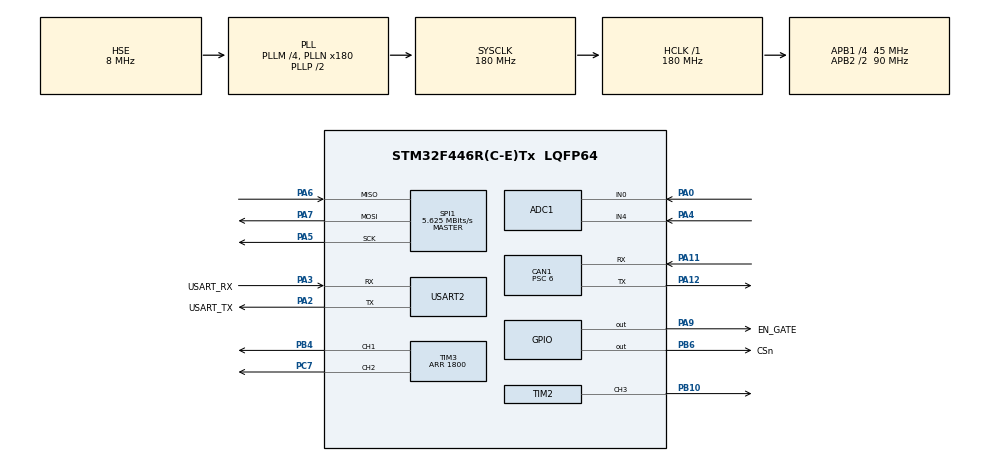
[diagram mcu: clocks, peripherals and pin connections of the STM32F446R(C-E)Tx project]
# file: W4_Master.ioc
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ADC1.Channel-0\#ChannelRegularConversion=ADC_CHANNEL_0
ADC1.Channel-1\#ChannelRegularConversion=ADC_CHANNEL_4
ADC1.DMAContinuousRequests=ENABLE
ADC1.ExternalTrigConv=ADC_EXTERNALTRIGCONV_T3_TRGO
ADC1.NbrOfConversion=2
ADC1.NbrOfConversionFlag=1
ADC1.Rank-0\#ChannelRegularConversion=1
ADC1.Rank-1\#ChannelRegularConversion=2
ADC1.SamplingTime-0\#ChannelRegularConversion=ADC_SAMPLETIME_84CYCLES
ADC1.SamplingTime-1\#ChannelRegularConversion=ADC_SAMPLETIME_84CYCLES
ADC1.ScanConvMode=ENABLE
ADC1.master=1
CAN1.BS1=CAN_BS1_12TQ
CAN1.BS2=CAN_BS2_2TQ
CAN1.CalculateBaudRate=500000
CAN1.CalculateTimeBit=2000
CAN1.CalculateTimeQuantum=133.33333333333331
CAN1.Prescaler=6
Dma.ADC1.0.Direction=DMA_PERIPH_TO_MEMORY
Dma.ADC1.0.FIFOMode=DMA_FIFOMODE_DISABLE
Dma.ADC1.0.Instance=DMA2_Stream0
Dma.ADC1.0.MemDataAlignment=DMA_MDATAALIGN_HALFWORD
Dma.ADC1.0.MemInc=DMA_MINC_ENABLE
Dma.ADC1.0.Mode=DMA_CIRCULAR
Dma.ADC1.0.PeriphDataAlignment=DMA_PDATAALIGN_HALFWORD
Dma.ADC1.0.PeriphInc=DMA_PINC_DISABLE
Dma.ADC1.0.Priority=DMA_PRIORITY_LOW
Dma.Request0=ADC1
Dma.Request1=SPI1_RX
Dma.Request2=SPI1_TX
Dma.SPI1_RX.1.Direction=DMA_PERIPH_TO_MEMORY
Dma.SPI1_RX.1.FIFOMode=DMA_FIFOMODE_DISABLE
Dma.SPI1_RX.1.Instance=DMA2_Stream2
Dma.SPI1_RX.1.MemDataAlignment=DMA_MDATAALIGN_BYTE
Dma.SPI1_RX.1.MemInc=DMA_MINC_ENABLE
Dma.SPI1_RX.1.Mode=DMA_NORMAL
Dma.SPI1_RX.1.PeriphDataAlignment=DMA_PDATAALIGN_BYTE
Dma.SPI1_RX.1.PeriphInc=DMA_PINC_DISABLE
Dma.SPI1_RX.1.Priority=DMA_PRIORITY_LOW
Dma.SPI1_TX.2.Direction=DMA_MEMORY_TO_PERIPH
Dma.SPI1_TX.2.FIFOMode=DMA_FIFOMODE_DISABLE
Dma.SPI1_TX.2.Instance=DMA2_Stream3
Dma.SPI1_TX.2.MemDataAlignment=DMA_MDATAALIGN_BYTE
Dma.SPI1_TX.2.MemInc=DMA_MINC_ENABLE
Dma.SPI1_TX.2.Mode=DMA_NORMAL
Dma.SPI1_TX.2.PeriphDataAlignment=DMA_PDATAALIGN_BYTE
Dma.SPI1_TX.2.PeriphInc=DMA_PINC_DISABLE
Dma.SPI1_TX.2.Priority=DMA_PRIORITY_LOW
Mcu.Family=STM32F4
Mcu.Name=STM32F446R(C-E)Tx
Mcu.Package=LQFP64
NVIC.DMA2_Stream0_IRQn=true\:0\:0\:false\:false\:true\:false\:true\:true
NVIC.DMA2_Stream2_IRQn=true\:0\:2\:false\:false\:true\:false\:true\:true
NVIC.DMA2_Stream3_IRQn=true\:0\:2\:false\:false\:true\:false\:true\:true
NVIC.PriorityGroup=NVIC_PRIORITYGROUP_0
PA0-WKUP.Signal=ADCx_IN0
PA11.Mode=CAN_Activate
PA11.Signal=CAN1_RX
PA12.Mode=CAN_Activate
PA12.Signal=CAN1_TX
PA2.GPIO_Label=USART_TX
PA2.Mode=Asynchronous
PA2.Signal=USART2_TX
PA3.GPIO_Label=USART_RX
PA3.Mode=Asynchronous
PA3.Signal=USART2_RX
PA4.Signal=ADCx_IN4
PA5.Mode=Full_Duplex_Master
PA5.Signal=SPI1_SCK
PA6.Mode=Full_Duplex_Master
PA6.Signal=SPI1_MISO
PA7.Mode=Full_Duplex_Master
PA7.Signal=SPI1_MOSI
PA9.GPIO_Label=EN_GATE
PA9.PinState=GPIO_PIN_SET
PA9.Signal=GPIO_Output
PB10.Signal=S_TIM2_CH3
PB4.Signal=S_TIM3_CH1
PB6.GPIO_Label=CSn
PB6.GPIO_PuPd=GPIO_PULLUP
PB6.GPIO_Speed=GPIO_SPEED_FREQ_HIGH
PB6.PinState=GPIO_PIN_SET
PB6.Signal=GPIO_Output
PC7.Signal=S_TIM3_CH2
PH0-OSC_IN.Mode=HSE-External-Oscillator
PH0-OSC_IN.Signal=RCC_OSC_IN
PH1-OSC_OUT.Mode=HSE-External-Oscillator
PH1-OSC_OUT.Signal=RCC_OSC_OUT
ProjectManager.HeapSize=0x200
ProjectManager.StackSize=0x400
ProjectManager.TargetToolchain=STM32CubeIDE
RCC.48MHZClocksFreq_Value=84000000
RCC.AHBFreq_Value=180000000
RCC.APB1CLKDivider=RCC_HCLK_DIV4
RCC.APB1Freq_Value=45000000
RCC.APB1TimFreq_Value=90000000
RCC.APB2CLKDivider=RCC_HCLK_DIV2
RCC.APB2Freq_Value=90000000
RCC.APB2TimFreq_Value=180000000
RCC.CortexFreq_Value=180000000
RCC.FLatency-AdvancedSettings=FLASH_LATENCY_5
RCC.HCLKFreq_Value=180000000
RCC.HSE_VALUE=8000000
RCC.HSI_VALUE=16000000
RCC.PLLM=4
RCC.PLLN=180
RCC.PLLSourceVirtual=RCC_PLLSOURCE_HSE
RCC.SYSCLKFreq_VALUE=180000000
RCC.SYSCLKSource=RCC_SYSCLKSOURCE_PLLCLK
RCC.USBFreq_Value=180000000
RCC.VCOOutputFreq_Value=360000000
SH.ADCx_IN0.0=ADC1_IN0,IN0
SH.ADCx_IN4.0=ADC1_IN4,IN4
SH.S_TIM2_CH3.0=TIM2_CH3,PWM Generation3 CH3
SH.S_TIM3_CH1.0=TIM3_CH1,PWM Generation1 CH1
SH.S_TIM3_CH2.0=TIM3_CH2,PWM Generation2 CH2
SPI1.BaudRatePrescaler=SPI_BAUDRATEPRESCALER_16
SPI1.CLKPhase=SPI_PHASE_2EDGE
SPI1.CalculateBaudRate=5.625 MBits/s
SPI1.Direction=SPI_DIRECTION_2LINES
SPI1.Mode=SPI_MODE_MASTER
SPI1.VirtualType=VM_MASTER
TIM2.AutoReloadPreload=TIM_AUTORELOAD_PRELOAD_ENABLE
TIM2.Channel-PWM\ Generation3\ CH3=TIM_CHANNEL_3
TIM2.CounterMode=TIM_COUNTERMODE_CENTERALIGNED3
TIM2.Period=1800
TIM3.AutoReloadPreload=TIM_AUTORELOAD_PRELOAD_ENABLE
TIM3.Channel-PWM\ Generation1\ CH1=TIM_CHANNEL_1
TIM3.Channel-PWM\ Generation2\ CH2=TIM_CHANNEL_2
TIM3.CounterMode=TIM_COUNTERMODE_CENTERALIGNED3
TIM3.Period=1800
TIM3.TIM_MasterOutputTrigger=TIM_TRGO_UPDATE
USART2.VirtualMode=VM_ASYNC
board=NUCLEO-F446RE

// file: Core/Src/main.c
/* USER CODE BEGIN Header */
/**
  ******************************************************************************
  * @file           : main.c
  * @brief          : Main program body
  ******************************************************************************
  * @attention
  *
  * Copyright (c) 2026 STMicroelectronics.
  * All rights reserved.
  *
  * This software is licensed under terms that can be found in the LICENSE file
  * in the root directory of this software component.
  * If no LICENSE file comes with this software, it is provided AS-IS.
  *
  ******************************************************************************
  */
/* USER CODE END Header */
#include "main.h"

ADC_HandleTypeDef hadc1;
DMA_HandleTypeDef hdma_adc1;

CAN_HandleTypeDef hcan1;

SPI_HandleTypeDef hspi1;
DMA_HandleTypeDef hdma_spi1_rx;
DMA_HandleTypeDef hdma_spi1_tx;

TIM_HandleTypeDef htim2;
TIM_HandleTypeDef htim3;

UART_HandleTypeDef huart2;

/* USER CODE BEGIN PV */
// float ↔ 4字节 互转(和从板对称)
typedef union {
    float    f;
    uint8_t  b[4];
} float_bytes_t;

CAN_TxHeaderTypeDef TxHeader;   // 发送帧头
uint8_t  TxData[8];             // 发送数据缓冲
uint32_t TxMailbox;            // HAL返回用的邮箱号

float target_angle = 0.0f;      // L1: 写死的目标角(后面改成串口/编码器输入)

// ===== AS5047P 读角度用 =====
#define AS5047_CMD_READ_ANGLE  0xFFFF   // 读角度命令(含读位+奇偶,简化版直接0xFFFF)
#define AS5047_ANGLE_MASK      0x3FFFU  // 14位角度掩码
#define TWO_PI                 6.28318530718f

float master_angle = 0.0f;   // 主板自己的编码器角度(rad)

float master_multi = 0.0f;        // 主板多圈累加角
float master_m_last = 0.0f;       // 上一拍单圈角(检测过零)
uint8_t master_first = 1;         // 首次标志, 避免上电瞬间乱跳
#define PI 3.14159265f
/* USER CODE END PV */

void SystemClock_Config(void);
static void MX_GPIO_Init(void);
static void MX_DMA_Init(void);
static void MX_USART2_UART_Init(void);
static void MX_ADC1_Init(void);
static void MX_SPI1_Init(void);
static void MX_TIM2_Init(void);
static void MX_TIM3_Init(void);
static void MX_CAN1_Init(void);

/* USER CODE BEGIN 0 */

// 阻塞读 AS5047P 角度, 返回14位原始值
uint16_t AS5047_ReadAngle(void)
{
    uint8_t tx_buf[2] = { (AS5047_CMD_READ_ANGLE >> 8) & 0xFF,
                          (AS5047_CMD_READ_ANGLE)      & 0xFF };
    uint8_t rx_buf[2] = {0};

    HAL_GPIO_WritePin(CSn_GPIO_Port, CSn_Pin, GPIO_PIN_RESET);  // CS拉低选中
    HAL_SPI_TransmitReceive(&hspi1, tx_buf, rx_buf, 2, 100);
    HAL_GPIO_WritePin(CSn_GPIO_Port, CSn_Pin, GPIO_PIN_SET);    // CS拉高

    uint16_t raw = (rx_buf[0] << 8) | rx_buf[1];
    return raw & AS5047_ANGLE_MASK;
}

// 把一个float角度打包成0x101报文发出去
void CAN_SendAngle(float angle)
{
    float_bytes_t conv;
    conv.f = angle;

    TxData[0] = conv.b[0];   // float拆4字节
    TxData[1] = conv.b[1];
    TxData[2] = conv.b[2];
    TxData[3] = conv.b[3];

    TxHeader.StdId = 0x101;          // 标准ID, 和从板滤波器对应
    TxHeader.IDE   = CAN_ID_STD;     // 标准帧
    TxHeader.RTR   = CAN_RTR_DATA;   // 数据帧(不是远程帧)
    TxHeader.DLC   = 4;              // 发4字节(一个float)
    TxHeader.TransmitGlobalTime = DISABLE;

    HAL_CAN_AddTxMessage(&hcan1, &TxHeader, TxData, &TxMailbox);  // 放入邮箱发送
}
/* USER CODE END 0 */

int main(void)
{

  /* MCU Configuration--------------------------------------------------------*/

  /* Reset of all peripherals, Initializes the Flash interface and the Systick. */
  HAL_Init();

  /* Configure the system clock */
  SystemClock_Config();

  /* Initialize all configured peripherals */
  MX_GPIO_Init();
  MX_DMA_Init();
  MX_USART2_UART_Init();
  MX_ADC1_Init();
  MX_SPI1_Init();
  MX_TIM2_Init();
  MX_TIM3_Init();
  MX_CAN1_Init();
  /* USER CODE BEGIN 2 */
  HAL_CAN_Start(&hcan1);   // ★发送也必须启动CAN
  /* USER CODE END 2 */

  /* Infinite loop */
  while (1)
  {
	    uint16_t raw = AS5047_ReadAngle();
	    float m_now = (float)raw / 16384.0f * TWO_PI;   // 当前单圈角

	    if (master_first) {            // 首次: 初始化last, 不累加
	        master_m_last = m_now;
	        master_first = 0;
	    }
	    float dm = m_now - master_m_last;
	    if (dm >  PI) dm -= TWO_PI;    // 过0→2π边界(倒转)
	    if (dm < -PI) dm += TWO_PI;    // 过2π→0边界(正转)
	    master_multi += dm;            // 累加真实增量
	    master_m_last = m_now;

	    CAN_SendAngle(master_multi);   // ★发多圈角
	    HAL_Delay(1);
  }
}

void SystemClock_Config(void)
{
  RCC_OscInitTypeDef RCC_OscInitStruct = {0};
  RCC_ClkInitTypeDef RCC_ClkInitStruct = {0};

  /** Configure the main internal regulator output voltage
  */
  __HAL_RCC_PWR_CLK_ENABLE();
  __HAL_PWR_VOLTAGESCALING_CONFIG(PWR_REGULATOR_VOLTAGE_SCALE1);

  /** Initializes the RCC Oscillators according to the specified parameters
  * in the RCC_OscInitTypeDef structure.
  */
  RCC_OscInitStruct.OscillatorType = RCC_OSCILLATORTYPE_HSE;
  RCC_OscInitStruct.HSEState = RCC_HSE_ON;
  RCC_OscInitStruct.PLL.PLLState = RCC_PLL_ON;
  RCC_OscInitStruct.PLL.PLLSource = RCC_PLLSOURCE_HSE;
  RCC_OscInitStruct.PLL.PLLM = 4;
  RCC_OscInitStruct.PLL.PLLN = 180;
  RCC_OscInitStruct.PLL.PLLP = RCC_PLLP_DIV2;
  RCC_OscInitStruct.PLL.PLLQ = 2;
  RCC_OscInitStruct.PLL.PLLR = 2;
  if (HAL_RCC_OscConfig(&RCC_OscInitStruct) != HAL_OK)
  {
    Error_Handler();
  }

  /** Activate the Over-Drive mode
  */
  if (HAL_PWREx_EnableOverDrive() != HAL_OK)
  {
    Error_Handler();
  }

  /** Initializes the CPU, AHB and APB buses clocks
  */
  RCC_ClkInitStruct.ClockType = RCC_CLOCKTYPE_HCLK|RCC_CLOCKTYPE_SYSCLK
                              |RCC_CLOCKTYPE_PCLK1|RCC_CLOCKTYPE_PCLK2;
  RCC_ClkInitStruct.SYSCLKSource = RCC_SYSCLKSOURCE_PLLCLK;
  RCC_ClkInitStruct.AHBCLKDivider = RCC_SYSCLK_DIV1;
  RCC_ClkInitStruct.APB1CLKDivider = RCC_HCLK_DIV4;
  RCC_ClkInitStruct.APB2CLKDivider = RCC_HCLK_DIV2;

  if (HAL_RCC_ClockConfig(&RCC_ClkInitStruct, FLASH_LATENCY_5) != HAL_OK)
  {
    Error_Handler();
  }
}

static void MX_ADC1_Init(void)
{

  ADC_ChannelConfTypeDef sConfig = {0};

  /** Configure the global features of the ADC (Clock, Resolution, Data Alignment and number of conversion)
  */
  hadc1.Instance = ADC1;
  hadc1.Init.ClockPrescaler = ADC_CLOCK_SYNC_PCLK_DIV4;
  hadc1.Init.Resolution = ADC_RESOLUTION_12B;
  hadc1.Init.ScanConvMode = ENABLE;
  hadc1.Init.ContinuousConvMode = DISABLE;
  hadc1.Init.DiscontinuousConvMode = DISABLE;
  hadc1.Init.ExternalTrigConvEdge = ADC_EXTERNALTRIGCONVEDGE_RISING;
  hadc1.Init.ExternalTrigConv = ADC_EXTERNALTRIGCONV_T3_TRGO;
  hadc1.Init.DataAlign = ADC_DATAALIGN_RIGHT;
  hadc1.Init.NbrOfConversion = 2;
  hadc1.Init.DMAContinuousRequests = ENABLE;
  hadc1.Init.EOCSelection = ADC_EOC_SINGLE_CONV;
  if (HAL_ADC_Init(&hadc1) != HAL_OK)
  {
    Error_Handler();
  }

  /** Configure for the selected ADC regular channel its corresponding rank in the sequencer and its sample time.
  */
  sConfig.Channel = ADC_CHANNEL_0;
  sConfig.Rank = 1;
  sConfig.SamplingTime = ADC_SAMPLETIME_84CYCLES;
  if (HAL_ADC_ConfigChannel(&hadc1, &sConfig) != HAL_OK)
  {
    Error_Handler();
  }

  /** Configure for the selected ADC regular channel its corresponding rank in the sequencer and its sample time.
  */
  sConfig.Channel = ADC_CHANNEL_4;
  sConfig.Rank = 2;
  if (HAL_ADC_ConfigChannel(&hadc1, &sConfig) != HAL_OK)
  {
    Error_Handler();
  }

}

static void MX_CAN1_Init(void)
{

  hcan1.Instance = CAN1;
  hcan1.Init.Prescaler = 6;
  hcan1.Init.Mode = CAN_MODE_NORMAL;
  hcan1.Init.SyncJumpWidth = CAN_SJW_1TQ;
  hcan1.Init.TimeSeg1 = CAN_BS1_12TQ;
  hcan1.Init.TimeSeg2 = CAN_BS2_2TQ;
  hcan1.Init.TimeTriggeredMode = DISABLE;
  hcan1.Init.AutoBusOff = DISABLE;
  hcan1.Init.AutoWakeUp = DISABLE;
  hcan1.Init.AutoRetransmission = DISABLE;
  hcan1.Init.ReceiveFifoLocked = DISABLE;
  hcan1.Init.TransmitFifoPriority = DISABLE;
  if (HAL_CAN_Init(&hcan1) != HAL_OK)
  {
    Error_Handler();
  }

}

static void MX_SPI1_Init(void)
{

  /* SPI1 parameter configuration*/
  hspi1.Instance = SPI1;
  hspi1.Init.Mode = SPI_MODE_MASTER;
  hspi1.Init.Direction = SPI_DIRECTION_2LINES;
  hspi1.Init.DataSize = SPI_DATASIZE_8BIT;
  hspi1.Init.CLKPolarity = SPI_POLARITY_LOW;
  hspi1.Init.CLKPhase = SPI_PHASE_2EDGE;
  hspi1.Init.NSS = SPI_NSS_SOFT;
  hspi1.Init.BaudRatePrescaler = SPI_BAUDRATEPRESCALER_16;
  hspi1.Init.FirstBit = SPI_FIRSTBIT_MSB;
  hspi1.Init.TIMode = SPI_TIMODE_DISABLE;
  hspi1.Init.CRCCalculation = SPI_CRCCALCULATION_DISABLE;
  hspi1.Init.CRCPolynomial = 10;
  if (HAL_SPI_Init(&hspi1) != HAL_OK)
  {
    Error_Handler();
  }

}

static void MX_TIM2_Init(void)
{

  TIM_MasterConfigTypeDef sMasterConfig = {0};
  TIM_OC_InitTypeDef sConfigOC = {0};

  htim2.Instance = TIM2;
  htim2.Init.Prescaler = 0;
  htim2.Init.CounterMode = TIM_COUNTERMODE_CENTERALIGNED3;
  htim2.Init.Period = 1800;
  htim2.Init.ClockDivision = TIM_CLOCKDIVISION_DIV1;
  htim2.Init.AutoReloadPreload = TIM_AUTORELOAD_PRELOAD_ENABLE;
  if (HAL_TIM_PWM_Init(&htim2) != HAL_OK)
  {
    Error_Handler();
  }
  sMasterConfig.MasterOutputTrigger = TIM_TRGO_RESET;
  sMasterConfig.MasterSlaveMode = TIM_MASTERSLAVEMODE_DISABLE;
  if (HAL_TIMEx_MasterConfigSynchronization(&htim2, &sMasterConfig) != HAL_OK)
  {
    Error_Handler();
  }
  sConfigOC.OCMode = TIM_OCMODE_PWM1;
  sConfigOC.Pulse = 0;
  sConfigOC.OCPolarity = TIM_OCPOLARITY_HIGH;
  sConfigOC.OCFastMode = TIM_OCFAST_DISABLE;
  if (HAL_TIM_PWM_ConfigChannel(&htim2, &sConfigOC, TIM_CHANNEL_3) != HAL_OK)
  {
    Error_Handler();
  }
  HAL_TIM_MspPostInit(&htim2);

}

static void MX_TIM3_Init(void)
{

  TIM_MasterConfigTypeDef sMasterConfig = {0};
  TIM_OC_InitTypeDef sConfigOC = {0};

  htim3.Instance = TIM3;
  htim3.Init.Prescaler = 0;
  htim3.Init.CounterMode = TIM_COUNTERMODE_CENTERALIGNED3;
  htim3.Init.Period = 1800;
  htim3.Init.ClockDivision = TIM_CLOCKDIVISION_DIV1;
  htim3.Init.AutoReloadPreload = TIM_AUTORELOAD_PRELOAD_ENABLE;
  if (HAL_TIM_PWM_Init(&htim3) != HAL_OK)
  {
    Error_Handler();
  }
  sMasterConfig.MasterOutputTrigger = TIM_TRGO_UPDATE;
  sMasterConfig.MasterSlaveMode = TIM_MASTERSLAVEMODE_DISABLE;
  if (HAL_TIMEx_MasterConfigSynchronization(&htim3, &sMasterConfig) != HAL_OK)
  {
    Error_Handler();
  }
  sConfigOC.OCMode = TIM_OCMODE_PWM1;
  sConfigOC.Pulse = 0;
  sConfigOC.OCPolarity = TIM_OCPOLARITY_HIGH;
  sConfigOC.OCFastMode = TIM_OCFAST_DISABLE;
  if (HAL_TIM_PWM_ConfigChannel(&htim3, &sConfigOC, TIM_CHANNEL_1) != HAL_OK)
  {
    Error_Handler();
  }
  if (HAL_TIM_PWM_ConfigChannel(&htim3, &sConfigOC, TIM_CHANNEL_2) != HAL_OK)
  {
    Error_Handler();
  }
  HAL_TIM_MspPostInit(&htim3);

}

static void MX_USART2_UART_Init(void)
{

  huart2.Instance = USART2;
  huart2.Init.BaudRate = 115200;
  huart2.Init.WordLength = UART_WORDLENGTH_8B;
  huart2.Init.StopBits = UART_STOPBITS_1;
  huart2.Init.Parity = UART_PARITY_NONE;
  huart2.Init.Mode = UART_MODE_TX_RX;
  huart2.Init.HwFlowCtl = UART_HWCONTROL_NONE;
  huart2.Init.OverSampling = UART_OVERSAMPLING_16;
  if (HAL_UART_Init(&huart2) != HAL_OK)
  {
    Error_Handler();
  }

}

static void MX_DMA_Init(void)
{

  /* DMA controller clock enable */
  __HAL_RCC_DMA2_CLK_ENABLE();

  /* DMA interrupt init */
  /* DMA2_Stream0_IRQn interrupt configuration */
  HAL_NVIC_SetPriority(DMA2_Stream0_IRQn, 0, 0);
  HAL_NVIC_EnableIRQ(DMA2_Stream0_IRQn);
  /* DMA2_Stream2_IRQn interrupt configuration */
  HAL_NVIC_SetPriority(DMA2_Stream2_IRQn, 0, 2);
  HAL_NVIC_EnableIRQ(DMA2_Stream2_IRQn);
  /* DMA2_Stream3_IRQn interrupt configuration */
  HAL_NVIC_SetPriority(DMA2_Stream3_IRQn, 0, 2);
  HAL_NVIC_EnableIRQ(DMA2_Stream3_IRQn);

}

static void MX_GPIO_Init(void)
{
  GPIO_InitTypeDef GPIO_InitStruct = {0};

  /* GPIO Ports Clock Enable */
  __HAL_RCC_GPIOH_CLK_ENABLE();
  __HAL_RCC_GPIOA_CLK_ENABLE();
  __HAL_RCC_GPIOB_CLK_ENABLE();
  __HAL_RCC_GPIOC_CLK_ENABLE();

  /*Configure GPIO pin Output Level */
  HAL_GPIO_WritePin(EN_GATE_GPIO_Port, EN_GATE_Pin, GPIO_PIN_SET);

  /*Configure GPIO pin Output Level */
  HAL_GPIO_WritePin(CSn_GPIO_Port, CSn_Pin, GPIO_PIN_SET);

  /*Configure GPIO pin : EN_GATE_Pin */
  GPIO_InitStruct.Pin = EN_GATE_Pin;
  GPIO_InitStruct.Mode = GPIO_MODE_OUTPUT_PP;
  GPIO_InitStruct.Pull = GPIO_NOPULL;
  GPIO_InitStruct.Speed = GPIO_SPEED_FREQ_LOW;
  HAL_GPIO_Init(EN_GATE_GPIO_Port, &GPIO_InitStruct);

  /*Configure GPIO pin : CSn_Pin */
  GPIO_InitStruct.Pin = CSn_Pin;
  GPIO_InitStruct.Mode = GPIO_MODE_OUTPUT_PP;
  GPIO_InitStruct.Pull = GPIO_PULLUP;
  GPIO_InitStruct.Speed = GPIO_SPEED_FREQ_HIGH;
  HAL_GPIO_Init(CSn_GPIO_Port, &GPIO_InitStruct);

}

void Error_Handler(void)
{
  __disable_irq();
  while (1)
  {
  }
}
